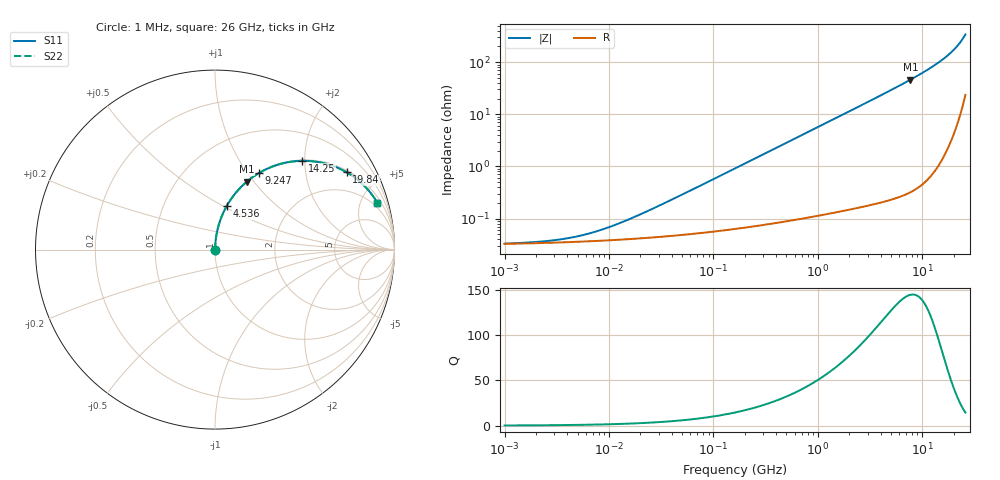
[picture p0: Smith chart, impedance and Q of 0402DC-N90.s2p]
# MHz  S  MA  R  50
!Freq  MagS11  AngS11  MagS21  AngS21  MagS12  AngS12  MagS22  AngS22
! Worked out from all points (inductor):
!   801 points, 1 MHz to 26 GHz, reference 50 ohm
!   read as one part in series: L = 900 pH near 22.56 MHz
!   highest Q = 144 at 7.739 GHz (marker M1), where L = 948 pH
!   S11 on the Smith chart (normalised r, x): 1 MHz: 1.00, +0.00; 4.536 GHz: 1.00, +0.52; 9.247 GHz: 1.01, +1.13; 14.25 GHz: 1.02, +1.94; 19.84 GHz: 1.08, +3.35; 26 GHz: 1.47, +6.77
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1  0.0003309 9.8  0.9997 -0.0  0.9997 -0.0  0.0003309 9.8
2.662713  0.0003741 23.7  0.9997 -0.0  0.9997 -0.0  0.0003741 23.7
3.899735  0.0004148 32.1  0.9996 -0.0  0.9996 -0.0  0.0004148 32.1
5.497621  0.0004764 40.7  0.9996 -0.0  0.9996 -0.0  0.0004764 40.7
7.849432  0.0005797 49.9  0.9996 -0.0  0.9996 -0.0  0.0005797 49.9
11.49606  0.000757 59.1  0.9996 -0.0  0.9996 -0.0  0.000757 59.1
29.84186  0.001744 75.2  0.9996 -0.1  0.9996 -0.1  0.001744 75.2
161.9858  0.009176 85.5  0.9993 -0.5  0.9993 -0.5  0.009176 85.5
879.282  0.04965 85.9  0.9977 -2.8  0.9977 -2.8  0.04965 85.9
2169.254  0.1221 82.3  0.991 -7.0  0.991 -7.0  0.1221 82.3
3177.029  0.178 79.2  0.9823 -10.3  0.9823 -10.3  0.178 79.2
4536.12  0.2521 74.9  0.9656 -14.6  0.9656 -14.6  0.2521 74.9
4833.96  0.268 74.0  0.9613 -15.5  0.9613 -15.5  0.268 74.0
6234.145  0.3416 69.6  0.9374 -20.0  0.9374 -20.0  0.3416 69.6
7738.907  0.4175 64.9  0.9058 -24.7  0.9058 -24.7  0.4175 64.9
9247.223  0.4894 60.3  0.8686 -29.3  0.8686 -29.3  0.4894 60.3
11479.27  0.5875 53.6  0.8046 -36.0  0.8046 -36.0  0.5875 53.6
14250.07  0.6934 45.5  0.7134 -43.9  0.7134 -43.9  0.6934 45.5
16812.21  0.7747 38.4  0.6212 -50.8  0.6212 -50.8  0.7747 38.4
19835.03  0.8501 30.5  0.5073 -58.2  0.5073 -58.2  0.8501 30.5
22525.26  0.8996 23.9  0.4053 -64.0  0.4053 -64.0  0.8996 23.9
26000  0.9417 16.1  0.2774 -70.0  0.2774 -70.0  0.9417 16.1
